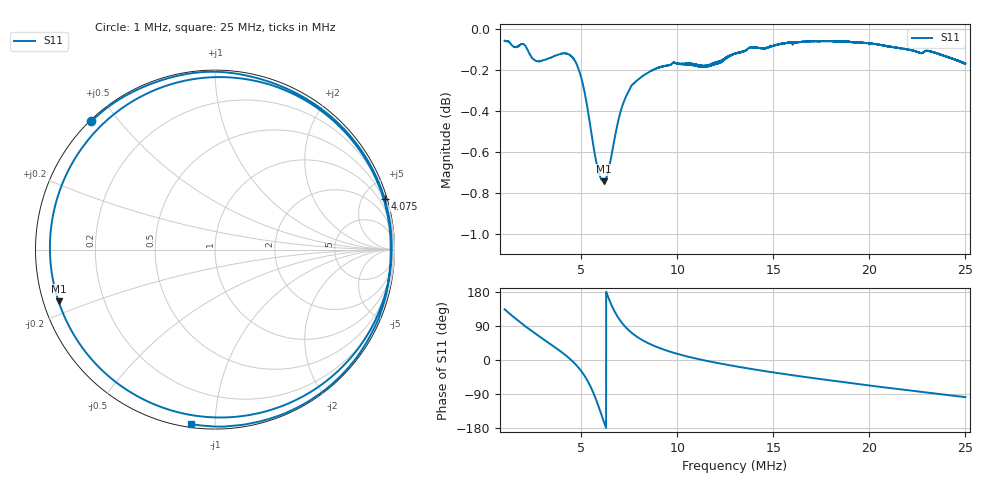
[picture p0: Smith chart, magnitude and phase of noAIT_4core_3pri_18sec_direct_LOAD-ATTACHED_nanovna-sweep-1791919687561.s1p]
! NanoVNA Web complex sweep
! Processing: unaveraged complex samples; linear segment spacing; no smoothing
# Hz S RI R 50
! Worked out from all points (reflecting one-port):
!   5050 points, 1 MHz to 25 MHz, reference 50 ohm
!   lowest |S11| = -0.7 dB at 6.162 MHz (marker M1), VSWR 23.40, Z = 2.19 - j8.02 ohm
!   phase of S11 starts at 134 deg and turns -592 deg over the sweep
!   S11 on the Smith chart (normalised r, x): 1 MHz: 0.00, +0.43; 4.075 MHz: 0.33, +6.78; 25 MHz: 0.02, -0.87
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1000000  -0.6882 0.7161
1698691  -0.2376 0.9612
2335593  0.1827 0.9682
3162615  0.6326 0.7523
4003896  0.9294 0.33
4075191  0.9445 0.2841
4559997  0.9806 -0.0771
4944990  0.875 -0.4292
5263441  0.6188 -0.7333
5558127  0.1777 -0.9238
5710223  -0.1224 -0.9234
5852813  -0.4161 -0.8258
6019168  -0.7121 -0.5818
6161758  -0.8718 -0.2877
6361384  -0.9085 0.1568
6599034  -0.7291 0.5827
6789154  -0.5075 0.7954
7003039  -0.2522 0.9191
7240689  -0.00192 0.9608
7544881  0.2526 0.9337
8167524  0.5902 0.7744
8966028  0.8153 0.5406
1.000218e7  0.9427 0.2706
1.300132e7  0.9461 -0.278
1.600047e7  0.7571 -0.6393
1.899961e7  0.4841 -0.8665
2.199875e7  0.1725 -0.9733
2.49979e7  -0.1355 -0.9712
